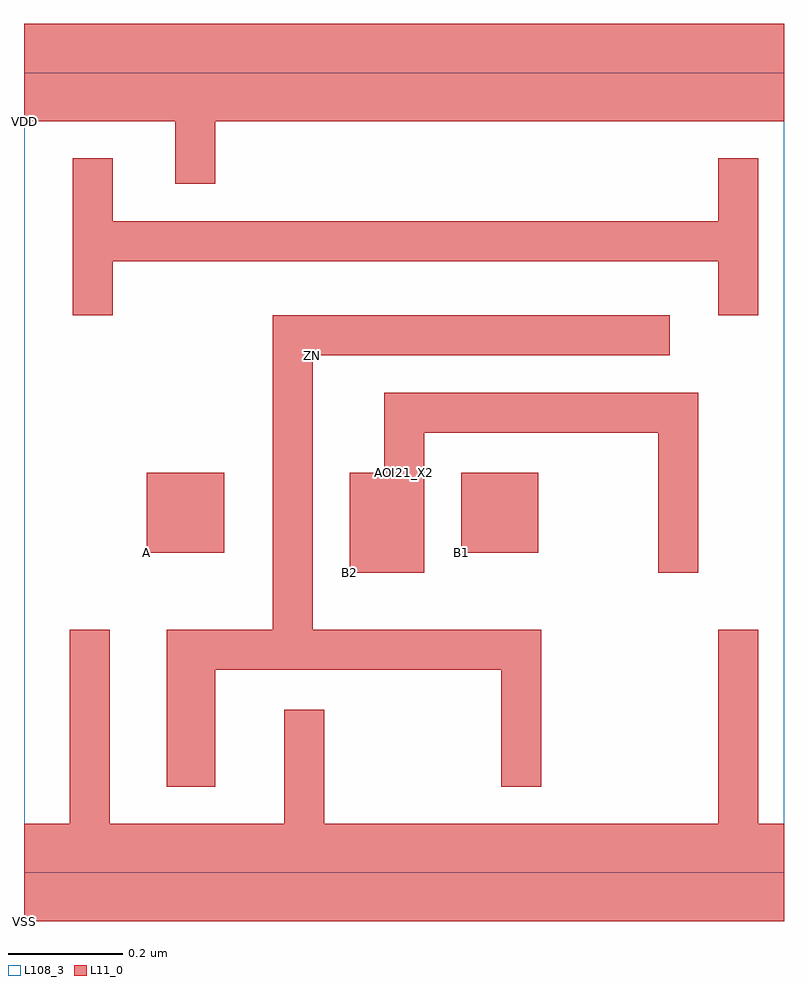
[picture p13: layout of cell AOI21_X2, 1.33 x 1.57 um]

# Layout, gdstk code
import gdstk
lib = gdstk.Library(unit=1e-6, precision=1e-09)
def R(c, l, rs):  # rectangles x0, y0, x1, y1
    for r in rs: c.add(gdstk.rectangle(r[:2], r[2:], *l))
def P(c, l, *ps):  # polygons
    for p in ps: c.add(gdstk.Polygon(p, *l))
L11_0 = (11, 0)
L108_3 = (108, 3)

aoi21_x2 = lib.new_cell('AOI21_X2')
R(aoi21_x2, L11_0, [(0.215,0.56,0.35,0.7), (0.765,0.56,0.9,0.7)])
P(aoi21_x2, L11_0, [(0.57,0.525),(0.7,0.525),(0.7,0.77),(1.11,0.77),(1.11,0.525),(1.18,0.525),(1.18,0.84),(0.63,0.84),(0.63,0.7),(0.57,0.7)],
  [(0.505,0.905),(1.13,0.905),(1.13,0.975),(0.435,0.975),(0.435,0.425),(0.25,0.425),(0.25,0.15),(0.335,0.15),(0.335,0.355),(0.835,0.355),(0.835,0.15),(0.905,0.15),(0.905,0.425),(0.505,0.425)],
  [(0,1.315),(0.265,1.315),(0.265,1.205),(0.335,1.205),(0.335,1.315),(1.285,1.315),(1.33,1.315),(1.33,1.485),(1.285,1.485),(0,1.485)],
  [(0,-0.085),(1.33,-0.085),(1.33,0.085),(1.285,0.085),(1.285,0.425),(1.215,0.425),(1.215,0.085),(0.525,0.085),(0.525,0.285),(0.455,0.285),(0.455,0.085),(0.15,0.085),(0.15,0.425),(0.08,0.425),(0.08,0.085),(0,0.085)],
  [(0.085,0.975),(0.155,0.975),(0.155,1.07),(1.215,1.07),(1.215,0.975),(1.285,0.975),(1.285,1.25),(1.215,1.25),(1.215,1.14),(0.155,1.14),(0.155,1.25),(0.085,1.25)])
R(aoi21_x2, L108_3, [(0,0,1.33,1.4)])
aoi21_x2.add(gdstk.Label('AOI21_X2', (0.665,0.7), layer=108, texttype=3))
aoi21_x2.add(gdstk.Label('A', (0.215,0.56), layer=11, texttype=0))
aoi21_x2.add(gdstk.Label('B1', (0.765,0.56), layer=11, texttype=0))
aoi21_x2.add(gdstk.Label('B2', (0.57,0.525), layer=11, texttype=0))
aoi21_x2.add(gdstk.Label('ZN', (0.505,0.905), layer=11, texttype=0))
aoi21_x2.add(gdstk.Label('VDD', (0,1.315), layer=11, texttype=0))
aoi21_x2.add(gdstk.Label('VSS', (0,-0.085), layer=11, texttype=0))

lib.write_gds('AOI21_X2.gds')
